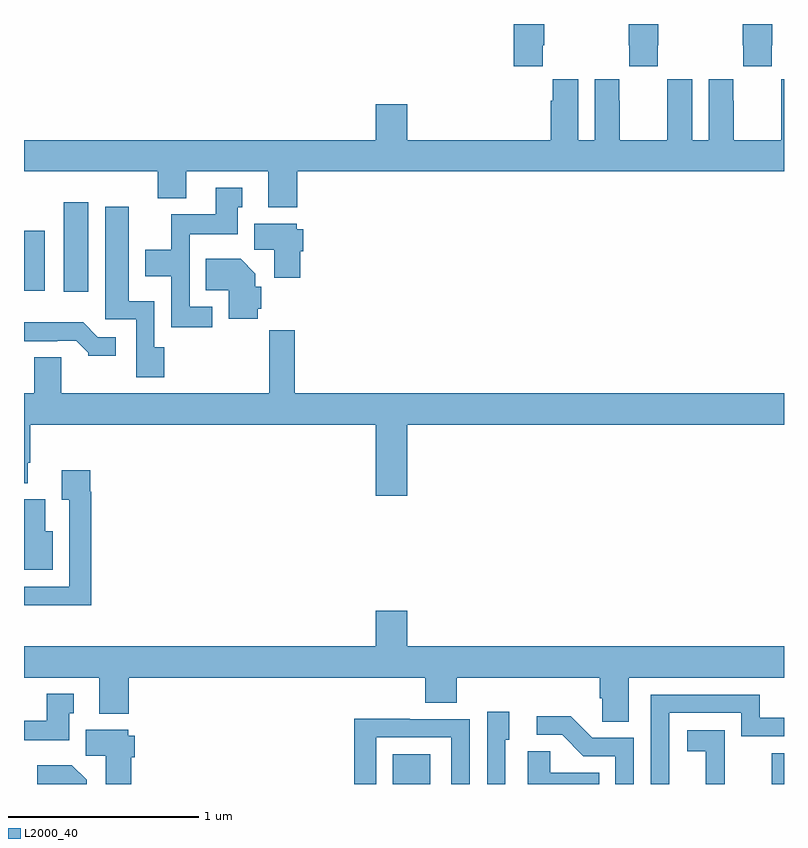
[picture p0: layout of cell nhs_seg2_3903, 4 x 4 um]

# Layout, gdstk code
import gdstk
lib = gdstk.Library(unit=1e-6, precision=1e-09)
def R(c, l, rs):  # rectangles x0, y0, x1, y1
    for r in rs: c.add(gdstk.rectangle(r[:2], r[2:], *l))
def P(c, l, *ps):  # polygons
    for p in ps: c.add(gdstk.Polygon(p, *l))
L2000_40 = (2000, 40)

nhs_seg2_3903 = lib.new_cell('nhs_seg2_3903')
R(nhs_seg2_3903, L2000_40, [(320.942,589.8,321.139,589.957), (322.936,589.8,323,589.962), (319.208,592.392,319.339,592.861), (319,592.397,319.108,592.711)])
P(nhs_seg2_3903, L2000_40, [(321.731,593.689),(321.738,593.689),(321.738,593.8),(321.578,593.8),(321.578,593.577),(321.731,593.577)],
  [(322.335,593.689),(322.338,593.689),(322.338,593.8),(322.183,593.8),(322.183,593.689),(322.185,593.689),(322.185,593.577),(322.335,593.577)],
  [(322.935,593.689),(322.938,593.689),(322.938,593.8),(322.783,593.8),(322.783,593.689),(322.785,593.689),(322.785,593.577),(322.935,593.577)],
  [(320.438,593.024),(323,593.024),(323,593.509),(322.986,593.509),(322.986,593.396),(322.985,593.396),(322.985,593.188),(322.735,593.188),(322.735,593.396),(322.734,593.396),(322.734,593.509),(322.604,593.509),(322.604,593.188),(322.516,593.188),(322.516,593.509),(322.386,593.509),(322.386,593.396),(322.385,593.396),(322.385,593.188),(322.135,593.188),(322.135,593.396),(322.134,593.396),(322.134,593.509),(322.004,593.509),(322.004,593.188),(321.916,593.188),(321.916,593.509),(321.782,593.509),(321.782,593.396),(321.773,593.396),(321.773,593.188),(321.016,593.188),(321.016,593.377),(320.852,593.377),(320.852,593.188),(319,593.188),(319,593.024),(319.703,593.024),(319.703,592.883),(319.855,592.883),(319.855,593.024),(320.285,593.024),(320.285,592.835),(320.438,592.835)],
  [(319.99,592.311),(319.872,592.311),(319.872,592.694),(320.125,592.694),(320.125,592.836),(320.149,592.836),(320.149,592.939),(320.009,592.939),(320.009,592.798),(319.774,592.798),(319.774,592.612),(319.637,592.612),(319.637,592.472),(319.776,592.472),(319.776,592.203),(319.99,592.203)],
  [(319.739,592.098),(319.686,592.098),(319.686,592.342),(319.552,592.342),(319.552,592.837),(319.427,592.837),(319.427,592.245),(319.59,592.245),(319.59,591.942),(319.739,591.942)],
  [(320.453,592.605),(320.471,592.605),(320.471,592.719),(320.436,592.719),(320.436,592.75),(320.213,592.75),(320.213,592.612),(320.318,592.612),(320.318,592.464),(320.453,592.464)],
  [(320.231,592.302),(320.249,592.302),(320.249,592.416),(320.218,592.416),(320.218,592.486),(320.14,592.564),(319.957,592.564),(319.957,592.4),(320.078,592.4),(320.078,592.25),(320.231,592.25)],
  [(319.483,592.152),(319.389,592.152),(319.311,592.231),(319,592.231),(319,592.131),(319.175,592.131),(319.175,592.134),(319.274,592.134),(319.338,592.07),(319.338,592.055),(319.483,592.055)],
  [(321.016,591.692),(323,591.692),(323,591.856),(320.426,591.856),(320.426,592.189),(320.29,592.189),(320.29,591.856),(319.195,591.856),(319.195,592.046),(319.055,592.046),(319.055,591.856),(319,591.856),(319,591.383),(319.021,591.383),(319.021,591.49),(319.034,591.49),(319.034,591.692),(320.852,591.692),(320.852,591.318),(321.016,591.318)],
  [(319.355,591.338),(319.348,591.338),(319.348,591.451),(319.199,591.451),(319.199,591.295),(319.239,591.295),(319.239,590.838),(319,590.838),(319,590.742),(319.063,590.742),(319.063,590.741),(319.355,590.741)],
  [(319.15,591.13),(319.111,591.13),(319.111,591.298),(319,591.298),(319,590.927),(319.15,590.927)],
  [(322.183,590.36),(323,590.36),(323,590.524),(321.016,590.524),(321.016,590.713),(320.852,590.713),(320.852,590.524),(319,590.524),(319,590.36),(319.397,590.36),(319.397,590.171),(319.55,590.171),(319.55,590.36),(321.113,590.36),(321.113,590.227),(321.278,590.227),(321.278,590.36),(322.031,590.36),(322.031,590.251),(322.044,590.251),(322.044,590.128),(322.183,590.128)],
  [(319.237,590.172),(319.261,590.172),(319.261,590.275),(319.121,590.275),(319.121,590.134),(319,590.134),(319,590.03),(319.237,590.03)],
  [(322.395,590.175),(322.776,590.175),(322.776,590.052),(323,590.052),(323,590.148),(322.873,590.148),(322.873,590.271),(322.299,590.271),(322.299,589.8),(322.395,589.8)],
  [(321.534,590.034),(321.553,590.034),(321.553,590.179),(321.438,590.179),(321.438,589.8),(321.534,589.8)],
  [(322.209,590.043),(321.99,590.043),(321.877,590.156),(321.699,590.156),(321.699,590.058),(321.833,590.058),(321.944,589.947),(322.113,589.947),(322.113,589.8),(322.209,589.8)],
  [(320.853,590.046),(321.249,590.046),(321.249,589.8),(321.345,589.8),(321.345,590.142),(321.029,590.142),(321.029,590.144),(320.737,590.144),(320.737,589.8),(320.853,589.8)],
  [(319.565,589.941),(319.583,589.941),(319.583,590.055),(319.548,590.055),(319.548,590.086),(319.325,590.086),(319.325,589.948),(319.43,589.948),(319.43,589.8),(319.565,589.8)],
  [(322.688,589.877),(322.689,589.877),(322.689,590.083),(322.491,590.083),(322.491,589.973),(322.589,589.973),(322.589,589.8),(322.688,589.8)],
  [(322.028,589.858),(321.771,589.858),(321.771,589.973),(321.65,589.973),(321.65,589.8),(322.028,589.8)],
  [(319.33,589.822),(319.252,589.9),(319.069,589.9),(319.069,589.8),(319.33,589.8)])

lib.write_gds('nhs_seg2_3903.gds')
